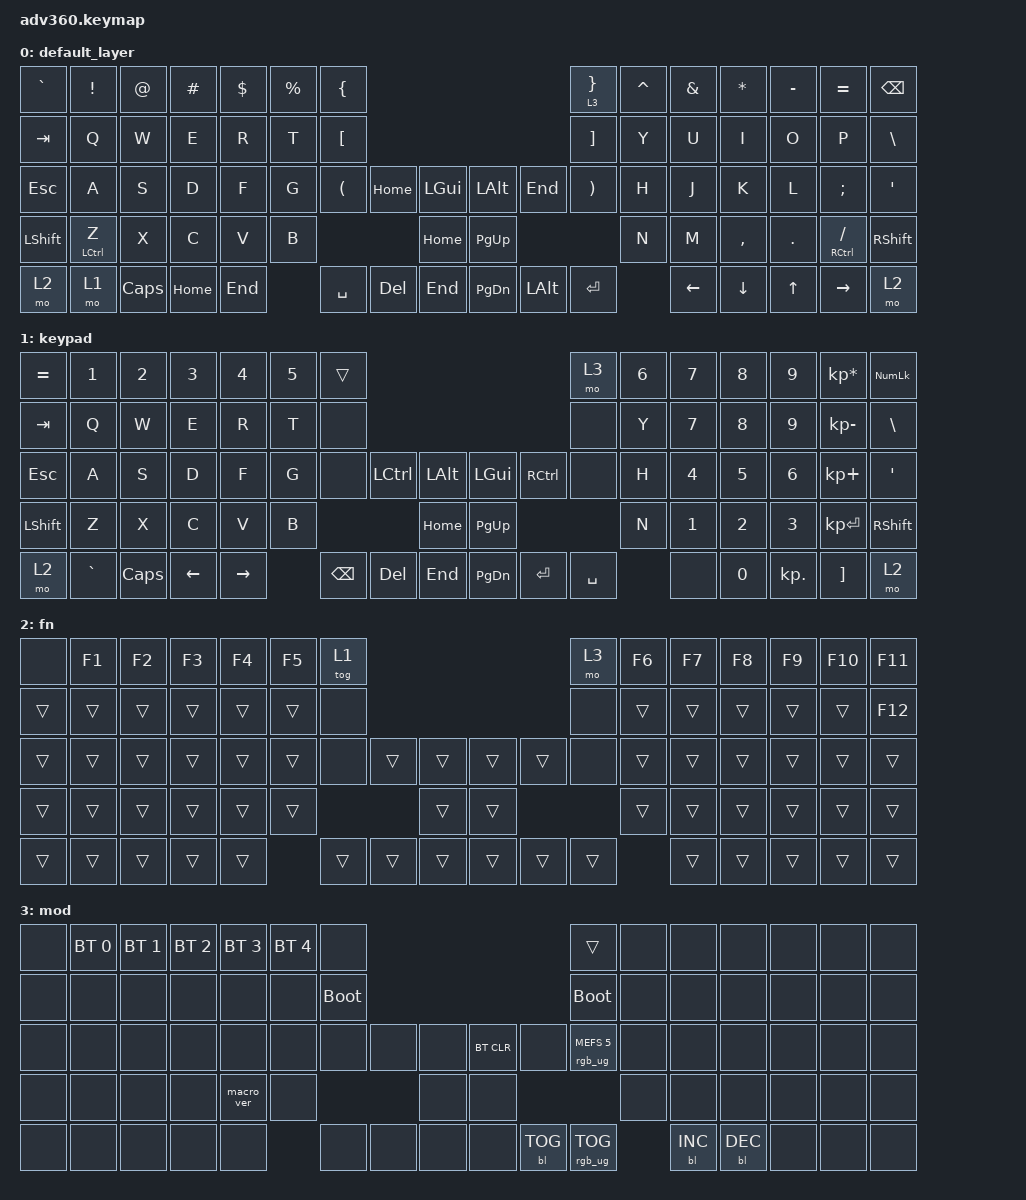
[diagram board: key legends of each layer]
#include <behaviors.dtsi>
#include <dt-bindings/zmk/backlight.h>
#include <dt-bindings/zmk/bt.h>
#include <dt-bindings/zmk/keys.h>
#include <dt-bindings/zmk/rgb.h>

/ {
    behaviors {
        #include "macros.dtsi"
      #include "version.dtsi"
      #ifndef VERSION_MACRO

        macro_ver: macro_ver {
            compatible = "zmk,behavior-macro";
            label = "macro_version";
            #binding-cells = <0>;
            bindings = <&kp RET>;
        };

        dbl_parens: dbl_parens {
            compatible = "zmk,behavior-macro";
            #binding-cells = <0>;
            bindings = <&kp LEFT_PARENTHESIS &kp RIGHT_PARENTHESIS &kp LEFT_ARROW>;
            label = "DBL_PARENS";
        };

        dbl_brace: dbl_brace {
            compatible = "zmk,behavior-macro";
            #binding-cells = <0>;
            bindings = <&kp LEFT_BRACE &kp RIGHT_BRACE &kp LEFT>;
            label = "DBL_BRACE";
        };

        dbl_bracket: dbl_bracket {
            compatible = "zmk,behavior-macro";
            #binding-cells = <0>;
            bindings = <&kp LEFT_BRACKET &kp RIGHT_BRACKET &kp LEFT_ARROW>;
            label = "DBL_BRACKET";
        };

        #endif

        hm: homerow_mods {
            compatible = "zmk,behavior-hold-tap";
            label = "HOMEROW_MODS";
            #binding-cells = <2>;
            tapping-term-ms = <200>;
            quick_tap_ms = <175>;
            flavor = "tap-preferred";
            bindings = <&kp>, <&kp>;
        };
    };

    macros {
    };

    keymap {
        compatible = "zmk,keymap";

        default_layer {
            bindings = <
&kp GRAVE  &kp EXCL     &kp AT    &kp HASH  &kp DOLLAR  &kp PERCENT  &kp LEFT_BRACE                                                                  &lt 3 RIGHT_BRACE      &kp CARET  &kp AMPERSAND   &kp ASTERISK  &kp MINUS     &kp EQUAL                &kp BACKSPACE
&kp TAB    &kp Q        &kp W     &kp E     &kp R       &kp T        &kp LEFT_BRACKET                                                                &kp RIGHT_BRACKET      &kp Y      &kp U           &kp I         &kp O         &kp P                    &kp BSLH
&kp ESC    &kp A        &kp S     &kp D     &kp F       &kp G        &kp LEFT_PARENTHESIS  &kp HOME    &kp LEFT_GUI      &kp LEFT_ALT  &kp END       &kp RIGHT_PARENTHESIS  &kp H      &kp J           &kp K         &kp L         &kp SEMI                 &kp SQT
&kp LSHFT  &mt LCTRL Z  &kp X     &kp C     &kp V       &kp B                                          &kp HOME          &kp PG_UP                                          &kp N      &kp M           &kp COMMA     &kp DOT       &hm RIGHT_CONTROL SLASH  &kp RSHFT
&mo 2      &mo 1        &kp CAPS  &kp HOME  &kp END                  &kp SPACE             &kp DELETE  &kp END           &kp PG_DN     &kp LEFT_ALT  &kp ENTER                         &kp LEFT_ARROW  &kp DOWN      &kp UP_ARROW  &kp RIGHT_ARROW          &mo 2
            >;
        };

        keypad {
            bindings = <
&kp EQUAL  &kp N1     &kp N2    &kp N3    &kp N4     &kp N5  &trans                                                   &mo 3      &kp N6  &kp N7  &kp N8  &kp N9      &kp KP_MULTIPLY  &kp KP_NUM
&kp TAB    &kp Q      &kp W     &kp E     &kp R      &kp T   &none                                                    &none      &kp Y   &kp N7  &kp N8  &kp N9      &kp KP_MINUS     &kp BSLH
&kp ESC    &kp A      &kp S     &kp D     &kp F      &kp G   &none     &kp LCTRL  &kp LALT      &kp LGUI   &kp RCTRL  &none      &kp H   &kp N4  &kp N5  &kp N6      &kp KP_PLUS      &kp SQT
&kp LSHFT  &kp Z      &kp X     &kp C     &kp V      &kp B                        &kp HOME      &kp PG_UP                        &kp N   &kp N1  &kp N2  &kp N3      &kp KP_ENTER     &kp RSHFT
&mo 2      &kp GRAVE  &kp CAPS  &kp LEFT  &kp RIGHT          &kp BSPC  &kp DEL    &kp END       &kp PG_DN  &kp ENTER  &kp SPACE          &none   &kp N0  &kp KP_DOT  &kp RBKT         &mo 2
            >;
        };

        fn {
            bindings = <
&none   &kp F1  &kp F2  &kp F3  &kp F4  &kp F5  &tog 1                                      &mo 3   &kp F6  &kp F7  &kp F8  &kp F9  &kp F10  &kp F11
&trans  &trans  &trans  &trans  &trans  &trans  &none                                       &none   &trans  &trans  &trans  &trans  &trans   &kp F12
&trans  &trans  &trans  &trans  &trans  &trans  &none   &trans  &trans      &trans  &trans  &none   &trans  &trans  &trans  &trans  &trans   &trans
&trans  &trans  &trans  &trans  &trans  &trans                  &trans      &trans                  &trans  &trans  &trans  &trans  &trans   &trans
&trans  &trans  &trans  &trans  &trans          &trans  &trans  &trans      &trans  &trans  &trans          &trans  &trans  &trans  &trans   &trans
            >;
        };

        mod {
            bindings = <
&none  &bt BT_SEL 0  &bt BT_SEL 1  &bt BT_SEL 2  &bt BT_SEL 3  &bt BT_SEL 4  &none                                                  &trans                  &none  &none       &none       &none  &none  &none
&none  &none         &none         &none         &none         &none         &bootloader                                            &bootloader             &none  &none       &none       &none  &none  &none
&none  &none         &none         &none         &none         &none         &none        &none  &none      &bt BT_CLR  &none       &rgb_ug RGB_MEFS_CMD 5  &none  &none       &none       &none  &none  &none
&none  &none         &none         &none         &macro_ver    &none                             &none      &none                                           &none  &none       &none       &none  &none  &none
&none  &none         &none         &none         &none                       &none        &none  &none      &none       &bl BL_TOG  &rgb_ug RGB_TOG                &bl BL_INC  &bl BL_DEC  &none  &none  &none
            >;
        };
    };
};
